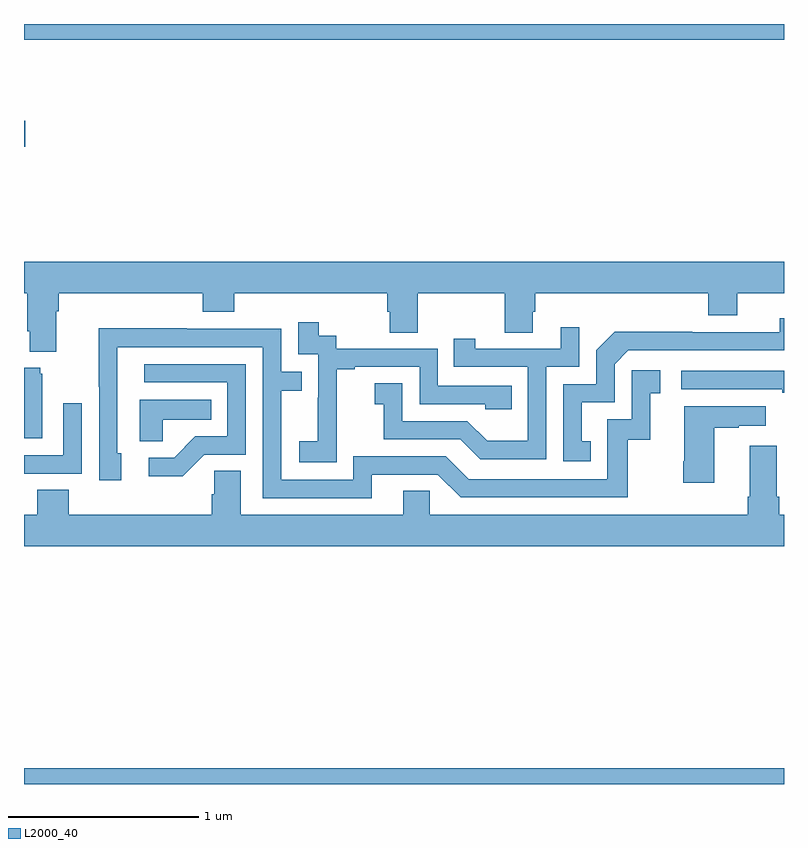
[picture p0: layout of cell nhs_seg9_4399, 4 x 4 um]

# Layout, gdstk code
import gdstk
lib = gdstk.Library(unit=1e-6, precision=1e-09)
def R(c, l, rs):  # rectangles x0, y0, x1, y1
    for r in rs: c.add(gdstk.rectangle(r[:2], r[2:], *l))
def P(c, l, *ps):  # polygons
    for p in ps: c.add(gdstk.Polygon(p, *l))
L2000_40 = (2000, 40)

nhs_seg9_4399 = lib.new_cell('nhs_seg9_4399')
R(nhs_seg9_4399, L2000_40, [(363,1196.5,367,1196.584), (363,1199.854,363.007,1199.991), (363,1200.416,367,1200.5)])
P(nhs_seg9_4399, L2000_40, [(363.169,1198.988),(363.182,1198.988),(363.182,1199.084),(363.941,1199.084),(363.941,1198.985),(364.106,1198.985),(364.106,1199.084),(364.913,1199.084),(364.913,1198.986),(364.925,1198.986),(364.925,1198.876),(365.073,1198.876),(365.073,1199.084),(365.53,1199.084),(365.53,1198.876),(365.677,1198.876),(365.677,1198.986),(365.69,1198.986),(365.69,1199.084),(366.602,1199.084),(366.602,1198.967),(366.754,1198.967),(366.754,1199.084),(367,1199.084),(367,1199.248),(363,1199.248),(363,1199.084),(363.017,1199.084),(363.017,1198.882),(363.029,1198.882),(363.029,1198.775),(363.169,1198.775)],
  [(365.984,1198.305),(365.935,1198.305),(365.935,1198.509),(366.108,1198.509),(366.108,1198.71),(366.18,1198.782),(367,1198.782),(367,1198.951),(366.978,1198.951),(366.978,1198.878),(366.518,1198.878),(366.518,1198.88),(366.11,1198.88),(366.012,1198.782),(366.012,1198.605),(365.838,1198.605),(365.838,1198.2),(365.984,1198.2)],
  [(364.647,1198.399),(364.646,1198.399),(364.646,1198.683),(364.741,1198.683),(364.741,1198.695),(365.082,1198.695),(365.082,1198.5),(365.427,1198.5),(365.427,1198.473),(365.567,1198.473),(365.567,1198.596),(365.178,1198.596),(365.178,1198.791),(364.644,1198.791),(364.644,1198.86),(364.552,1198.86),(364.552,1198.93),(364.443,1198.93),(364.443,1198.761),(364.548,1198.761),(364.548,1198.532),(364.547,1198.532),(364.547,1198.303),(364.449,1198.303),(364.449,1198.193),(364.647,1198.193)],
  [(365.748,1198.695),(365.922,1198.695),(365.922,1198.903),(365.825,1198.903),(365.825,1198.791),(365.374,1198.791),(365.374,1198.843),(365.263,1198.843),(365.263,1198.695),(365.652,1198.695),(365.652,1198.306),(365.438,1198.306),(365.334,1198.41),(364.992,1198.41),(364.992,1198.609),(364.845,1198.609),(364.845,1198.499),(364.894,1198.499),(364.894,1198.314),(365.297,1198.314),(365.402,1198.209),(365.748,1198.209)],
  [(364.831,1198.128),(365.178,1198.128),(365.298,1198.008),(366.178,1198.008),(366.178,1198.311),(366.296,1198.311),(366.296,1198.557),(366.349,1198.557),(366.349,1198.678),(366.198,1198.678),(366.198,1198.419),(366.069,1198.419),(366.069,1198.104),(365.34,1198.104),(365.22,1198.224),(364.734,1198.224),(364.734,1198.101),(364.353,1198.101),(364.353,1198.57),(364.463,1198.57),(364.463,1198.671),(364.353,1198.671),(364.353,1198.896),(363.857,1198.896),(363.857,1198.898),(363.394,1198.898),(363.394,1198.591),(363.396,1198.591),(363.396,1198.098),(363.511,1198.098),(363.511,1198.242),(363.492,1198.242),(363.492,1198.8),(364.257,1198.8),(364.257,1198.005),(364.831,1198.005)],
  [(363.948,1198.233),(364.167,1198.233),(364.167,1198.71),(363.633,1198.71),(363.633,1198.614),(364.071,1198.614),(364.071,1198.329),(363.902,1198.329),(363.791,1198.218),(363.657,1198.218),(363.657,1198.121),(363.835,1198.121)],
  [(363.097,1198.659),(363.086,1198.659),(363.086,1198.69),(363,1198.69),(363,1198.319),(363.097,1198.319)],
  [(367,1198.674),(366.459,1198.674),(366.459,1198.578),(366.991,1198.578),(366.991,1198.558),(367,1198.558)],
  [(363.729,1198.418),(363.986,1198.418),(363.986,1198.522),(363.608,1198.522),(363.608,1198.303),(363.729,1198.303)],
  [(363.303,1198.504),(363.207,1198.504),(363.207,1198.23),(363,1198.23),(363,1198.134),(363.303,1198.134)],
  [(366.634,1198.375),(366.761,1198.375),(366.761,1198.385),(366.904,1198.385),(366.904,1198.489),(366.476,1198.489),(366.476,1198.198),(366.469,1198.198),(366.469,1198.086),(366.634,1198.086)],
  [(367,1197.916),(366.974,1197.916),(366.974,1198.012),(366.961,1198.012),(366.961,1198.279),(366.821,1198.279),(366.821,1198.012),(366.809,1198.012),(366.809,1197.916),(365.136,1197.916),(365.136,1198.043),(364.997,1198.043),(364.997,1197.916),(364.141,1197.916),(364.141,1198.148),(364.002,1198.148),(364.002,1198.025),(363.989,1198.025),(363.989,1197.916),(363.236,1197.916),(363.236,1198.049),(363.071,1198.049),(363.071,1197.916),(363,1197.916),(363,1197.752),(367,1197.752)])

lib.write_gds('nhs_seg9_4399.gds')
